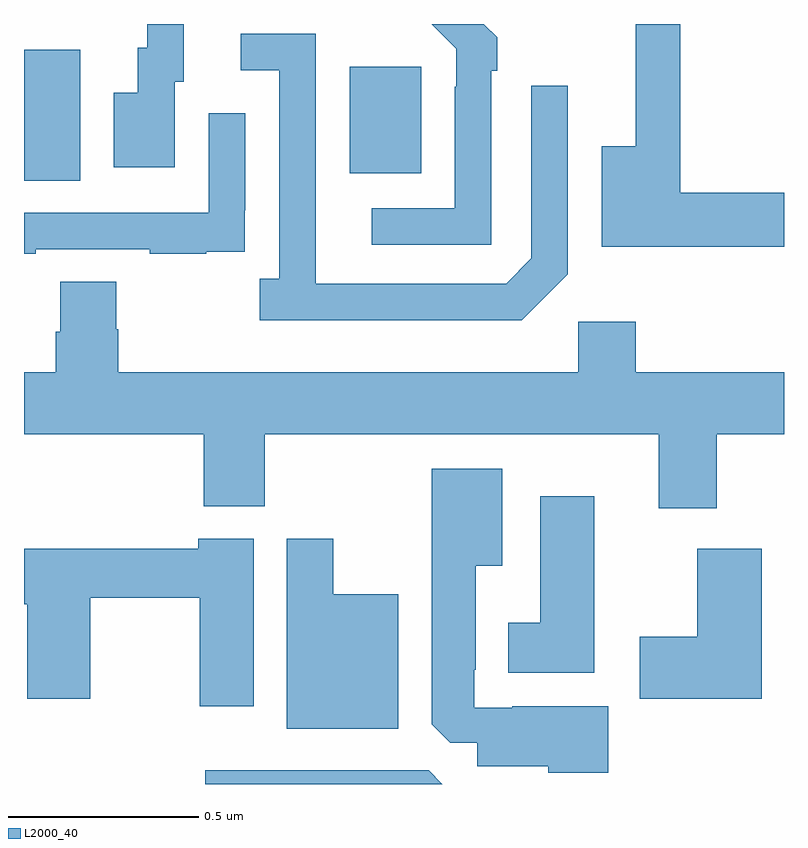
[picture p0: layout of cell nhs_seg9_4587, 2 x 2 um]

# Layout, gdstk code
import gdstk
lib = gdstk.Library(unit=1e-6, precision=1e-09)
def R(c, l, rs):  # rectangles x0, y0, x1, y1
    for r in rs: c.add(gdstk.rectangle(r[:2], r[2:], *l))
def P(c, l, *ps):  # polygons
    for p in ps: c.add(gdstk.Polygon(p, *l))
L2000_40 = (2000, 40)

nhs_seg9_4587 = lib.new_cell('nhs_seg9_4587')
R(nhs_seg9_4587, L2000_40, [(168,1197.088,168.148,1197.432), (168.857,1197.107,169.045,1197.388)])
P(nhs_seg9_4587, L2000_40, [(169.23,1197.377),(169.245,1197.377),(169.245,1197.465),(169.21,1197.5),(169.073,1197.5),(169.137,1197.435),(169.137,1197.335),(169.134,1197.335),(169.134,1197.015),(168.915,1197.015),(168.915,1196.919),(169.23,1196.919)],
  [(168.397,1197.348),(168.421,1197.348),(168.421,1197.5),(168.324,1197.5),(168.324,1197.438),(168.299,1197.438),(168.299,1197.319),(168.236,1197.319),(168.236,1197.123),(168.397,1197.123)],
  [(170,1197.056),(169.727,1197.056),(169.727,1197.5),(169.61,1197.5),(169.61,1197.178),(169.52,1197.178),(169.52,1196.914),(170,1196.914)],
  [(169.431,1196.841),(169.431,1197.337),(169.335,1197.337),(169.335,1196.883),(169.269,1196.817),(168.768,1196.817),(168.768,1197.474),(168.57,1197.474),(168.57,1197.378),(168.672,1197.378),(168.672,1196.83),(168.621,1196.83),(168.621,1196.72),(169.31,1196.72)],
  [(168.031,1196.907),(168.331,1196.907),(168.331,1196.895),(168.479,1196.895),(168.479,1196.901),(168.581,1196.901),(168.581,1197.01),(168.582,1197.01),(168.582,1197.265),(168.486,1197.265),(168.486,1197.003),(168,1197.003),(168,1196.895),(168.031,1196.895)],
  [(169.823,1196.42),(170,1196.42),(170,1196.584),(169.61,1196.584),(169.61,1196.716),(169.458,1196.716),(169.458,1196.584),(168.248,1196.584),(168.248,1196.697),(168.243,1196.697),(168.243,1196.822),(168.095,1196.822),(168.095,1196.69),(168.083,1196.69),(168.083,1196.584),(168,1196.584),(168,1196.42),(168.473,1196.42),(168.473,1196.231),(168.633,1196.231),(168.633,1196.42),(169.67,1196.42),(169.67,1196.226),(169.823,1196.226)],
  [(169.537,1195.705),(169.285,1195.705),(169.285,1195.701),(169.185,1195.701),(169.185,1195.801),(169.189,1195.801),(169.189,1196.075),(169.258,1196.075),(169.258,1196.329),(169.073,1196.329),(169.073,1195.657),(169.122,1195.608),(169.193,1195.608),(169.193,1195.547),(169.38,1195.547),(169.38,1195.529),(169.537,1195.529)],
  [(169.501,1196.257),(169.358,1196.257),(169.358,1195.924),(169.274,1195.924),(169.274,1195.793),(169.501,1195.793)],
  [(168.604,1196.146),(168.458,1196.146),(168.458,1196.119),(168,1196.119),(168,1195.973),(168.008,1195.973),(168.008,1195.725),(168.174,1195.725),(168.174,1195.99),(168.463,1195.99),(168.463,1195.704),(168.604,1195.704)],
  [(168.985,1195.999),(168.814,1195.999),(168.814,1196.146),(168.692,1196.146),(168.692,1195.646),(168.985,1195.646)],
  [(169.942,1196.119),(169.772,1196.119),(169.772,1195.887),(169.62,1195.887),(169.62,1195.724),(169.942,1195.724)],
  [(169.065,1195.536),(168.477,1195.536),(168.477,1195.5),(169.101,1195.5)])

lib.write_gds('nhs_seg9_4587.gds')
